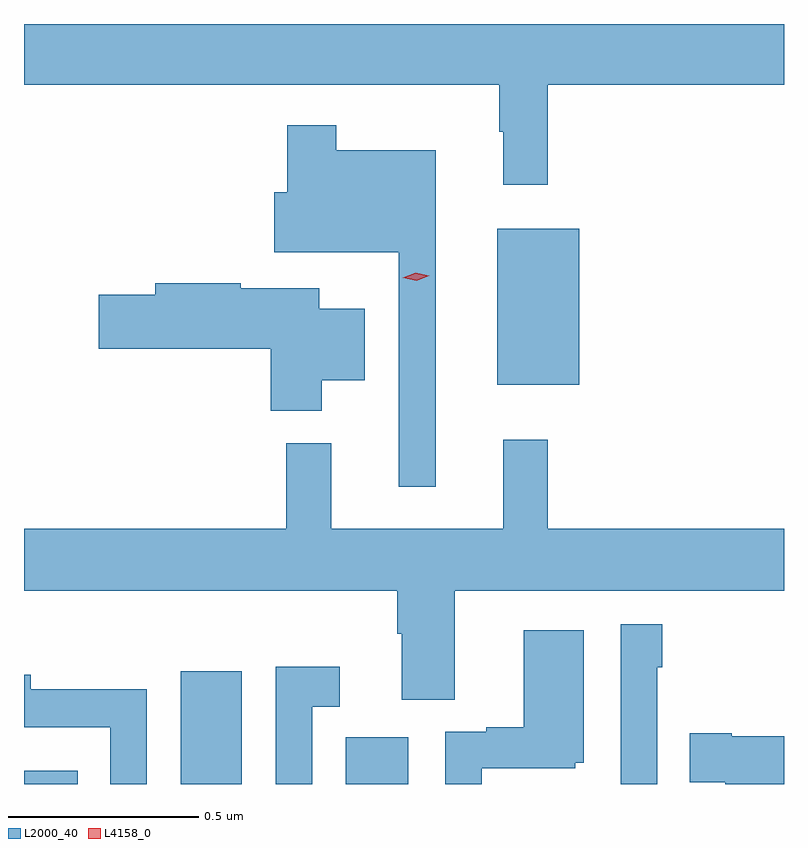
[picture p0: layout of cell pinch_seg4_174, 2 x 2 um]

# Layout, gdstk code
import gdstk
lib = gdstk.Library(unit=1e-6, precision=1e-09)
def R(c, l, rs):  # rectangles x0, y0, x1, y1
    for r in rs: c.add(gdstk.rectangle(r[:2], r[2:], *l))
def P(c, l, *ps):  # polygons
    for p in ps: c.add(gdstk.Polygon(p, *l))
L2000_40 = (2000, 40)
L4158_0 = (4158, 0)

pinch_seg4_174 = lib.new_cell('pinch_seg4_174')
R(pinch_seg4_174, L2000_40, [(1113.967,792.316,1114.108,792.351), (1114.379,792.316,1114.54,792.613), (1114.814,792.316,1114.978,792.439), (1115.213,793.367,1115.428,793.777)])
P(pinch_seg4_174, L2000_40, [(1115.345,794.156),(1115.967,794.156),(1115.967,794.316),(1113.967,794.316),(1113.967,794.156),(1115.217,794.156),(1115.217,794.033),(1115.228,794.033),(1115.228,793.893),(1115.345,793.893)],
  [(1115.05,793.984),(1114.789,793.984),(1114.789,794.05),(1114.66,794.05),(1114.66,793.873),(1114.626,793.873),(1114.626,793.715),(1114.953,793.715),(1114.953,793.098),(1115.05,793.098)],
  [(1114.75,793.379),(1114.864,793.379),(1114.864,793.567),(1114.744,793.567),(1114.744,793.621),(1114.538,793.621),(1114.538,793.634),(1114.313,793.634),(1114.313,793.604),(1114.164,793.604),(1114.164,793.462),(1114.616,793.462),(1114.616,793.298),(1114.75,793.298)],
  [(1115.101,792.824),(1115.967,792.824),(1115.967,792.988),(1115.345,792.988),(1115.345,793.222),(1115.228,793.222),(1115.228,792.988),(1114.775,792.988),(1114.775,793.213),(1114.657,793.213),(1114.657,792.988),(1113.967,792.988),(1113.967,792.824),(1114.949,792.824),(1114.949,792.712),(1114.961,792.712),(1114.961,792.538),(1115.101,792.538)],
  [(1115.634,792.623),(1115.647,792.623),(1115.647,792.736),(1115.538,792.736),(1115.538,792.316),(1115.634,792.316)],
  [(1115.171,792.357),(1115.418,792.357),(1115.418,792.372),(1115.44,792.372),(1115.44,792.721),(1115.282,792.721),(1115.282,792.466),(1115.183,792.466),(1115.183,792.453),(1115.076,792.453),(1115.076,792.316),(1115.171,792.316)],
  [(1114.725,792.519),(1114.798,792.519),(1114.798,792.625),(1114.629,792.625),(1114.629,792.316),(1114.725,792.316)],
  [(1114.29,792.566),(1113.985,792.566),(1113.985,792.604),(1113.967,792.604),(1113.967,792.465),(1114.194,792.465),(1114.194,792.316),(1114.29,792.316)],
  [(1115.967,792.442),(1115.83,792.442),(1115.83,792.45),(1115.719,792.45),(1115.719,792.32),(1115.813,792.32),(1115.813,792.316),(1115.967,792.316)])
P(pinch_seg4_174, L4158_0, [(1115,793.641),(1114.964,793.648),(1114.963,793.648),(1114.964,793.648),(1114.998,793.661),(1115.034,793.653),(1115.034,793.653),(1115.034,793.653)])

lib.write_gds('pinch_seg4_174.gds')
